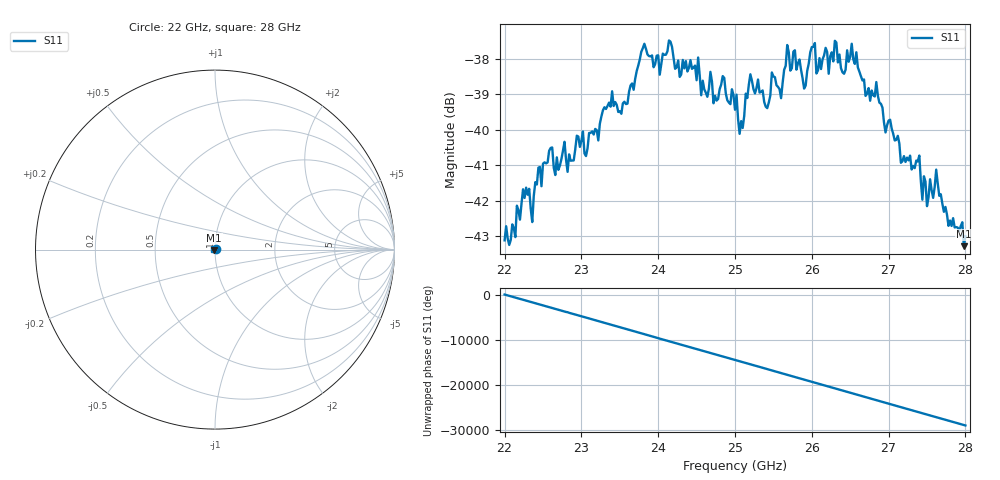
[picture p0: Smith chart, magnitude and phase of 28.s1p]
#  HZ  S  RI  R  50.00
! Rohde & Schwarz ZVA40 4Ports - Version 3.90 - 1145.1110k42 SN: 100403
! Date: 2023-10-04 08:40:15
! Measurement: S12
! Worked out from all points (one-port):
!   301 points, 22 GHz to 28 GHz, reference 50 ohm
!   lowest |S11| = -43.3 dB at 27.98 GHz (marker M1), VSWR 1.01, Z = 49.5 - j0.432 ohm
!   |S11| at or under -10 dB: start of sweep to end of sweep
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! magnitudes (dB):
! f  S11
! 22 GHz  -43.1
! 22.14 GHz  -43.0
! 22.24 GHz  -41.7
! 22.36 GHz  -42.6
! 22.44 GHz  -41.1
! 22.76 GHz  -40.6
! 23.06 GHz  -40.7
! 23.4 GHz  -38.9
! 23.5 GHz  -39.5
! 23.82 GHz  -37.6
! 24.26 GHz  -38.1
! 25 GHz  -39.4
! 25.1 GHz  -40.0
! 25.2 GHz  -38.4
! 25.6 GHz  -39.1
! 25.68 GHz  -37.6
! 25.76 GHz  -37.8
! 25.9 GHz  -38.8
! 26.04 GHz  -37.6
! 26.06 GHz  -38.4
! 26.5 GHz  -37.9
! 27.26 GHz  -40.9
! 27.4 GHz  -40.7
! 27.44 GHz  -42.0
! 27.5 GHz  -42.1
! 27.62 GHz  -41.1
! 27.98 GHz  -43.3
! 28 GHz  -43.0
